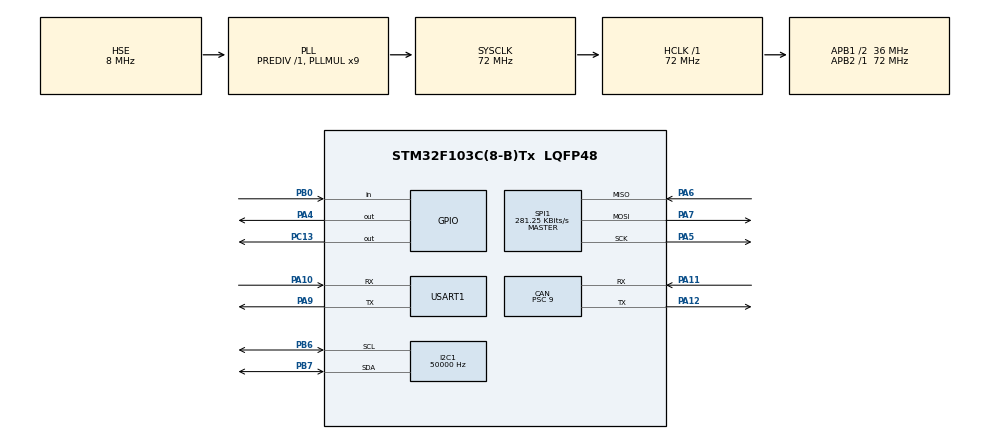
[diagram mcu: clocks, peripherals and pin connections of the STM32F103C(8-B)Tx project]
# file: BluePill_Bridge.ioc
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CAN.ABOM=ENABLE
CAN.BS1=CAN_BS1_13TQ
CAN.BS2=CAN_BS2_2TQ
CAN.CalculateBaudRate=250000
CAN.CalculateTimeBit=4000
CAN.CalculateTimeQuantum=250.0
CAN.Prescaler=9
I2C1.ClockSpeed=50000
Mcu.Family=STM32F1
Mcu.Name=STM32F103C(8-B)Tx
Mcu.Package=LQFP48
NVIC.PriorityGroup=NVIC_PRIORITYGROUP_4
PA10.Mode=Asynchronous
PA10.Signal=USART1_RX
PA11.Mode=CAN_Activate
PA11.Signal=CAN_RX
PA12.Mode=CAN_Activate
PA12.Signal=CAN_TX
PA13.Mode=Serial_Wire
PA13.Signal=SYS_JTMS-SWDIO
PA14.Mode=Serial_Wire
PA14.Signal=SYS_JTCK-SWCLK
PA4.Signal=GPIO_Output
PA5.Mode=Full_Duplex_Master
PA5.Signal=SPI1_SCK
PA6.Mode=Full_Duplex_Master
PA6.Signal=SPI1_MISO
PA7.Mode=Full_Duplex_Master
PA7.Signal=SPI1_MOSI
PA9.Mode=Asynchronous
PA9.Signal=USART1_TX
PB0.Signal=GPIO_Input
PB6.Mode=I2C
PB6.Signal=I2C1_SCL
PB7.Mode=I2C
PB7.Signal=I2C1_SDA
PC13-TAMPER-RTC.Signal=GPIO_Output
PD0-OSC_IN.Mode=HSE-External-Oscillator
PD0-OSC_IN.Signal=RCC_OSC_IN
PD1-OSC_OUT.Mode=HSE-External-Oscillator
PD1-OSC_OUT.Signal=RCC_OSC_OUT
ProjectManager.HeapSize=0x200
ProjectManager.StackSize=0x400
ProjectManager.TargetToolchain=STM32CubeIDE
RCC.AHBFreq_Value=72000000
RCC.APB1CLKDivider=RCC_HCLK_DIV2
RCC.APB1Freq_Value=36000000
RCC.APB1TimFreq_Value=72000000
RCC.APB2Freq_Value=72000000
RCC.APB2TimFreq_Value=72000000
RCC.HCLKFreq_Value=72000000
RCC.PLLMUL=RCC_PLL_MUL9
RCC.PLLSourceVirtual=RCC_PLLSOURCE_HSE
RCC.SYSCLKFreq_VALUE=72000000
RCC.SYSCLKSource=RCC_SYSCLKSOURCE_PLLCLK
RCC.USBFreq_Value=72000000
SPI1.BaudRatePrescaler=SPI_BAUDRATEPRESCALER_256
SPI1.CalculateBaudRate=281.25 KBits/s
SPI1.Direction=SPI_DIRECTION_2LINES
SPI1.Mode=SPI_MODE_MASTER
SPI1.VirtualType=VM_MASTER
USART1.VirtualMode=VM_ASYNC
board=custom

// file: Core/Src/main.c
/* USER CODE BEGIN Header */
/*
 * Multi-bus bridge for bl_host.py - part of the STM32F103RBT6 three-tier secure bootloader.
 * Author: Adham Ehab   Date: 18/08/2026
 *
 * One Blue Pill, one USB-serial link to the PC, three downstream buses to the FBL.
 * The FBL listens on all of them at once; the Blue Pill is the bus MASTER, so it has
 * to push each command onto exactly one bus. The PC picks which with a one-time mode
 * byte (bl_host's  can:/spi:/i2c:  prefix), then everything speaks the framed protocol:
 *
 *   PC --UART--> Blue Pill --+--CAN (ISO-TP, PA11/PA12)------> FBL
 *                            +--SPI (PA4-7 + PB0 READY)------> FBL
 *                            +--I2C (PB6/PB7 + PB0 READY)----> FBL
 *
 * SET_BRIDGE (0xE0) is handled locally by the Blue Pill (not forwarded); every other
 * command is relayed on the selected bus and the reply handed back to the PC. SPI and
 * I2C share the FBL's DATA_READY line (PB0) so a slow command can take its time.
 *
 * Wiring (3.3 V, common ground):
 *   SPI - PA5 SCK -> PB13, PA6 MISO <- PB14, PA7 MOSI -> PB15, PA4 NSS -> PB12
 *   I2C - PB6 SCL <-> PB6, PB7 SDA <-> PB7  (4.7k-3.3k pull-ups on both lines)
 *   CAN - PA11/PA12 via an MCP2551, as the original CAN bridge
 *   PB0 READY <- Nucleo PB1 (shared by SPI and I2C)
 */
/* USER CODE END Header */
#include "main.h"
#include "can.h"
#include "i2c.h"
#include "spi.h"
#include "usart.h"
#include "gpio.h"

/* USER CODE BEGIN Includes */
#include <string.h>
#include <stdio.h>
/* USER CODE END Includes */

/* USER CODE BEGIN PD */
#define CAN_CMD_ID    0x7E0U   /* bridge -> FBL over CAN */
#define CAN_REPLY_ID  0x7E8U   /* FBL -> bridge over CAN */

#define CMD_SET_BRIDGE 0xE0U   /* local command: choose the downstream bus */
#define BUS_CAN 0U
#define BUS_SPI 1U
#define BUS_I2C 2U
#define BUS_CAN_RAW 3U         /* raw ISO-TP passthrough for a PC UDS client */

/* Set to 1 in a throwaway build to turn the Blue Pill into a UDS client that
   drives the Nucleo's live iso14229 server over CAN (two-board test), instead
   of the normal transparent bridge. 0 = normal bridge. */
#ifndef BP_UDS_CLIENT_ON_BOOT
#define BP_UDS_CLIENT_ON_BOOT 0
#endif

#define I2C_ADDR7  0x42U       /* the FBL's I2C slave address (7-bit) */

/* SPI handshake lines to the FBL slave */
#define NSS_LOW()        HAL_GPIO_WritePin(GPIOA, GPIO_PIN_4, GPIO_PIN_RESET)
#define NSS_HIGH()       HAL_GPIO_WritePin(GPIOA, GPIO_PIN_4, GPIO_PIN_SET)
#define READY_IS_HIGH()  (HAL_GPIO_ReadPin(GPIOB, GPIO_PIN_0) == GPIO_PIN_SET)

#define LED_TOGGLE()     HAL_GPIO_TogglePin(GPIOC, GPIO_PIN_13)
/* USER CODE END PD */

/* USER CODE BEGIN PV */
static uint8_t bridge_bus = BUS_CAN;   /* default so a plain COM port still bridges CAN */
/* USER CODE END PV */

void SystemClock_Config(void);

/* USER CODE BEGIN 0 */
/* ==========================================================================
 *  CAN downstream: ISO-TP (ISO 15765-2) with flow control, sender side.
 * ========================================================================== */
static int bp_send_frame(uint32_t can_id, const uint8_t *bytes, uint8_t length)
{
  CAN_TxHeaderTypeDef header = {0};
  uint32_t mailbox;
  uint32_t timeout = 100000U;

  header.StdId = can_id;  header.IDE = CAN_ID_STD;  header.RTR = CAN_RTR_DATA;  header.DLC = length;
  while (HAL_CAN_GetTxMailboxesFreeLevel(&hcan) == 0U) { if (timeout-- == 0U) return 0; }
  return (HAL_CAN_AddTxMessage(&hcan, &header, (uint8_t *)bytes, &mailbox) == HAL_OK);
}

static int bp_recv_frame(uint8_t *bytes, uint32_t *timeout)
{
  CAN_RxHeaderTypeDef header;
  while (HAL_CAN_GetRxFifoFillLevel(&hcan, CAN_RX_FIFO0) == 0U) { if ((*timeout)-- == 0U) return 0; }
  return (HAL_CAN_GetRxMessage(&hcan, CAN_RX_FIFO0, &header, bytes) == HAL_OK);
}

static int bp_wait_fc(uint32_t timeout, uint8_t *block_size, uint8_t *st_min)
{
  uint8_t frame[8];
  for (;;) {
    uint32_t remaining = timeout;
    if (!bp_recv_frame(frame, &remaining)) return 0;
    if ((frame[0] & 0xF0U) == 0x30U) {
      uint8_t flow_status = frame[0] & 0x0FU;
      if (flow_status == 0x00U) { *block_size = frame[1]; *st_min = frame[2]; return 1; }
      if (flow_status == 0x02U) return 0;
    }
  }
}

static int bp_cantp_send(uint32_t can_id, const uint8_t *data, uint32_t length)
{
  uint8_t  frame[8];
  uint32_t offset, chunk, i;
  uint8_t  seq_num = 1U, block_size = 0U, st_min = 0U, sent_in_block = 0U;

  if (length <= 7U) {
    frame[0] = (uint8_t)length;
    for (i = 0; i < length; i++) frame[1 + i] = data[i];
    return bp_send_frame(can_id, frame, (uint8_t)(1U + length));
  }

  frame[0] = (uint8_t)(0x10U | ((length >> 8) & 0x0FU));
  frame[1] = (uint8_t)(length & 0xFFU);
  for (i = 0; i < 6U; i++) frame[2 + i] = data[i];
  if (!bp_send_frame(can_id, frame, 8U)) return 0;
  if (!bp_wait_fc(2000000U, &block_size, &st_min)) return 0;

  offset = 6U;
  while (offset < length) {
    frame[0] = (uint8_t)(0x20U | (seq_num & 0x0FU));
    chunk = (length - offset > 7U) ? 7U : (length - offset);
    for (i = 0; i < chunk; i++) frame[1 + i] = data[offset + i];
    if (!bp_send_frame(can_id, frame, (uint8_t)(1U + chunk))) return 0;
    offset += chunk; seq_num++;
    if (st_min != 0U && st_min <= 0x7FU) HAL_Delay(st_min);
    if (block_size != 0U) {
      if (++sent_in_block >= block_size) {
        sent_in_block = 0U;
        if (offset < length && !bp_wait_fc(2000000U, &block_size, &st_min)) return 0;
      }
    }
  }
  return 1;
}

static int bp_cantp_recv_sf(uint8_t *data, uint32_t *length, uint32_t timeout_ms)
{
  CAN_RxHeaderTypeDef header;
  uint8_t  frame[8];
  uint32_t start = HAL_GetTick();

  while (HAL_CAN_GetRxFifoFillLevel(&hcan, CAN_RX_FIFO0) == 0U) {
    if (HAL_GetTick() - start > timeout_ms) return 0;
  }
  if (HAL_CAN_GetRxMessage(&hcan, CAN_RX_FIFO0, &header, frame) != HAL_OK) return 0;
  if ((frame[0] & 0xF0U) == 0x00U) {
    uint32_t i, payload_len = frame[0] & 0x0FU;
    for (i = 0; i < payload_len; i++) data[i] = frame[1 + i];
    *length = payload_len;
    return 1;
  }
  return 0;
}

/* Receive one ISO-TP message (single- or multi-frame), acting as the receiver:
   for a multi-frame message we send lockstep Flow Control (BS=1) on `fc_id`.
   Returns 1 on a complete message. */
static int bp_cantp_recv(uint8_t *data, uint32_t *length, uint32_t fc_id)
{
  uint8_t  frame[8];
  uint32_t total, offset, chunk, i, spin;

  spin = 2000000U;
  if (!bp_recv_frame(frame, &spin)) return 0;

  if ((frame[0] & 0xF0U) == 0x00U) {           /* Single Frame */
    uint32_t plen = frame[0] & 0x0FU;
    for (i = 0; i < plen; i++) data[i] = frame[1 + i];
    *length = plen;
    return 1;
  }
  if ((frame[0] & 0xF0U) == 0x10U) {           /* First Frame */
    total = ((uint32_t)(frame[0] & 0x0FU) << 8) | frame[1];
    for (i = 0; i < 6U; i++) data[i] = frame[2 + i];
    offset = 6U;
    while (offset < total) {
      uint8_t fc[3] = { 0x30U, 0x01U, 0x00U };  /* Clear To Send, BS=1, STmin=0 */
      bp_send_frame(fc_id, fc, 3U);
      spin = 2000000U;
      if (!bp_recv_frame(frame, &spin)) return 0;
      if ((frame[0] & 0xF0U) != 0x20U) return 0;
      chunk = (total - offset > 7U) ? 7U : (total - offset);
      for (i = 0; i < chunk; i++) data[offset + i] = frame[1 + i];
      offset += chunk;
    }
    *length = total;
    return 1;
  }
  return 0;
}

/* Relay one command over CAN, read the single-frame reply. */
static int forward_can(const uint8_t *cmd, uint32_t total, uint8_t *reply, uint32_t *rlen)
{
  CAN_RxHeaderTypeDef rx; uint8_t junk[8];
  while (HAL_CAN_GetRxFifoFillLevel(&hcan, CAN_RX_FIFO0) > 0U)   /* drain stale RX */
    HAL_CAN_GetRxMessage(&hcan, CAN_RX_FIFO0, &rx, junk);
  if (!bp_cantp_send(CAN_CMD_ID, cmd, total)) return 0;
  return bp_cantp_recv_sf(reply, rlen, 12000U);
}

/* ==========================================================================
 *  SPI downstream: master, with the FBL's DATA_READY line pacing the reply.
 * ========================================================================== */
static uint8_t spi_xfer(uint8_t out)
{
  uint8_t in = 0U;
  HAL_SPI_TransmitReceive(&hspi1, &out, &in, 1U, HAL_MAX_DELAY);
  return in;
}

static int forward_spi(const uint8_t *cmd, uint32_t total, uint8_t *reply, uint32_t *rlen)
{
  uint32_t i, guard;

  /* Phase 1: clock out the command. Pause after the first byte so the slave -
     which is polling several transports - notices and enters its read loop. */
  NSS_LOW();
  (void)spi_xfer(cmd[0]);
  HAL_Delay(12);
  for (i = 1U; i < total; i++) (void)spi_xfer(cmd[i]);
  NSS_HIGH();

  /* Phase 2: wait for DATA_READY, then clock the reply back. */
  guard = 0U;
  while (!READY_IS_HIGH()) { HAL_Delay(1); if (++guard > 15000U) return 0; }   /* up to 15 s */

  NSS_LOW();
  reply[0] = spi_xfer(0x00);          /* ACK (0xCD) or NACK (0xAB) */
  *rlen = 1U;
  if (reply[0] == 0xCDU) {
    uint8_t n = spi_xfer(0x00);       /* payload length */
    reply[1] = n; *rlen = 2U;
    for (i = 0U; i < n; i++) { reply[2U + i] = spi_xfer(0x00); (*rlen)++; }
  }
  NSS_HIGH();

  guard = 0U;
  while (READY_IS_HIGH()) { if (++guard > 2000000U) break; }
  return 1;
}

/* ==========================================================================
 *  I2C downstream: HAL master. Write the command, wait for DATA_READY, then read
 *  a fixed 8-byte reply. Clock-stretching on the slave keeps the timing easy.
 * ========================================================================== */
static int forward_i2c(const uint8_t *cmd, uint32_t total, uint8_t *reply, uint32_t *rlen)
{
  uint32_t i, guard;
  uint8_t  buf[8];

  if (HAL_I2C_Master_Transmit(&hi2c1, (uint16_t)(I2C_ADDR7 << 1),
                              (uint8_t *)cmd, (uint16_t)total, 1000U) != HAL_OK)
    return 0;

  guard = 0U;
  while (!READY_IS_HIGH()) { HAL_Delay(1); if (++guard > 15000U) return 0; }   /* up to 15 s */

  if (HAL_I2C_Master_Receive(&hi2c1, (uint16_t)(I2C_ADDR7 << 1), buf, 8U, 1000U) != HAL_OK)
    return 0;

  reply[0] = buf[0];                 /* ACK (0xCD) or NACK (0xAB) */
  if (buf[0] == 0xCDU) {
    uint8_t n = buf[1];
    reply[1] = n; *rlen = 2U;
    for (i = 0U; i < n && (2U + i) < 8U; i++) { reply[2U + i] = buf[2U + i]; (*rlen)++; }
  } else {
    *rlen = 1U;
  }

  guard = 0U;
  while (READY_IS_HIGH()) { if (++guard > 2000000U) break; }
  return 1;
}

#if BP_UDS_CLIENT_ON_BOOT
#include "bl_seccrypto.h"   /* from the FBL project: add Core/Src/bl_seccrypto.c (CMake: -DBP_UDS_CLIENT=ON does this) */
/* ==========================================================================
 *  UDS client (two-board test): drive the Nucleo's iso14229 server over CAN.
 *  Requests go out on 0x7E0 (multi-frame handled by bp_cantp_send); the server's
 *  replies come back on 0x7E8. Result on the LED (PC13, active low) and over
 *  USART1: solid ON = full sequence passed; else it blinks the failing stage
 *  2..9 (9 = read-back mismatch). The full transcript is printed to the PC.
 * ========================================================================== */
#define BP_LED_ON()   HAL_GPIO_WritePin(GPIOC, GPIO_PIN_13, GPIO_PIN_RESET)
#define BP_LED_OFF()  HAL_GPIO_WritePin(GPIOC, GPIO_PIN_13, GPIO_PIN_SET)

/* Print a line to the PC over USART1 (the same USB-serial the bridge uses). */
static void bp_log(const char *s)
{
  HAL_UART_Transmit(&huart1, (uint8_t *)s, (uint16_t)strlen(s), 500U);
}

/* Print "label" followed by n bytes as hex. */
static void bp_log_hex(const char *label, const uint8_t *d, uint32_t n)
{
  char line[96];
  int  p = snprintf(line, sizeof(line), "%s", label);
  for (uint32_t i = 0U; (i < n) && (p < (int)sizeof(line) - 4); i++)
    p += snprintf(line + p, sizeof(line) - (size_t)p, " %02X", d[i]);
  p += snprintf(line + p, sizeof(line) - (size_t)p, "\r\n");
  HAL_UART_Transmit(&huart1, (uint8_t *)line, (uint16_t)p, 500U);
}

/* Send a UDS request, log it and the reply. Returns reply length, 0 on failure. */
static uint32_t bp_uds_xfer(const char *step, const uint8_t *req, uint32_t req_len,
                            uint8_t *resp, uint32_t timeout_ms)
{
  uint32_t rlen = 0U;
  bp_log(step);
  bp_log_hex("   -> req", req, req_len);
  if (!bp_cantp_send(CAN_CMD_ID, req, req_len)) { bp_log("   !! send failed\r\n"); return 0U; }
  if (!bp_cantp_recv_sf(resp, &rlen, timeout_ms)) { bp_log("   !! no reply\r\n"); return 0U; }
  bp_log_hex("   <- rsp", resp, rlen);
  return rlen;
}

/* Show a result on the LED (0 = solid ON = pass) and over UART, then halt. */
static void bp_uds_report(int code)
{
  if (code == 0)
  {
    bp_log("\r\n==== RESULT: PASS (full UDS reprogramming over real CAN) ====\r\n");
    BP_LED_ON();
    while (1) { }
  }
  {
    char line[52];
    snprintf(line, sizeof(line), "\r\n==== RESULT: FAIL at stage %d ====\r\n", code);
    bp_log(line);
  }
  while (1)
  {
    for (int b = 0; b < code; b++) { BP_LED_ON(); HAL_Delay(250); BP_LED_OFF(); HAL_Delay(250); }
    HAL_Delay(1500);
  }
}

/* Run the full reprogramming sequence against the server. Never returns. */
static void bp_uds_client(void)
{
  const uint32_t SLOT_B = 0x08015000U;                 /* staging slot base (matches the FBL map) */
  uint8_t  req[16];
  uint8_t  resp[16];
  uint8_t  seed[4], key[4];
  uint32_t n;

  HAL_Delay(300);   /* let the server settle after power-up */

  /* This clone's USART1 + USB-serial can be marginal at 115200 (the framed
     protocol hides it behind a CRC, but plain-text logging shows every glitch).
     Drop to a rock-solid 9600 for the transcript - set the terminal to 9600. */
  huart1.Init.BaudRate = 9600U;
  HAL_UART_Init(&huart1);

  bp_log("\r\n=== UDS client: driving the Nucleo iso14229 server over CAN ===\r\n");
  bp_log("    requests on 0x7E0, single-frame replies on 0x7E8\r\n");

  /* 1) DiagnosticSessionControl: extended first, programming can not be entered directly. */
  req[0] = 0x10U; req[1] = 0x03U;
  n = bp_uds_xfer("\r\n[1a] DiagnosticSessionControl (extended)", req, 2U, resp, 2000U);
  if (n < 2U || resp[0] != 0x50U || resp[1] != 0x03U) bp_uds_report(2);
  req[0] = 0x10U; req[1] = 0x02U;
  n = bp_uds_xfer("\r\n[1b] DiagnosticSessionControl (programming)", req, 2U, resp, 2000U);
  if (n < 2U || resp[0] != 0x50U || resp[1] != 0x02U) bp_uds_report(2);

  /* Wait out the server's ~1 s SecurityAccess boot delay. */
  bp_log("    waiting out the ~1 s security boot delay...\r\n");
  HAL_Delay(1200);

  /* 2) SecurityAccess requestSeed. */
  req[0] = 0x27U; req[1] = 0x01U;
  n = bp_uds_xfer("\r\n[2] SecurityAccess requestSeed", req, 2U, resp, 2000U);
  if (n < 6U || resp[0] != 0x67U || resp[1] != 0x01U) bp_uds_report(3);
  seed[0] = resp[2]; seed[1] = resp[3]; seed[2] = resp[4]; seed[3] = resp[5];

  /* 3) SecurityAccess sendKey: first 4 bytes of AES-CMAC(K, seed). K is the same key the
     server was built with (the public demo key unless BL_SEC_KEY_HEADER was given). */
  BL_Sec_KeyForSeed(seed, key);
  bp_log_hex("    seed from server", seed, 4U);
  bp_log_hex("    computed key    ", key, 4U);
  req[0] = 0x27U; req[1] = 0x02U;
  req[2] = key[0]; req[3] = key[1]; req[4] = key[2]; req[5] = key[3];
  n = bp_uds_xfer("\r\n[3] SecurityAccess sendKey", req, 6U, resp, 2000U);
  if (n < 2U || resp[0] != 0x67U || resp[1] != 0x02U) bp_uds_report(4);
  bp_log("    -> security unlocked\r\n");

  /* 4) RoutineControl start -> erase the staging slot (routineId 0xFF00). */
  req[0] = 0x31U; req[1] = 0x01U; req[2] = 0xFFU; req[3] = 0x00U;
  n = bp_uds_xfer("\r\n[4] RoutineControl start: erase staging slot (0xFF00)", req, 4U, resp, 5000U);
  if (n < 2U || resp[0] != 0x71U || resp[1] != 0x01U) bp_uds_report(5);

  /* 5) RequestDownload: 8 bytes at SLOT_B. [0x34][dfi=0][ALFID=0x44][addr:4][size:4] */
  req[0] = 0x34U; req[1] = 0x00U; req[2] = 0x44U;
  req[3] = (uint8_t)(SLOT_B >> 24); req[4] = (uint8_t)(SLOT_B >> 16);
  req[5] = (uint8_t)(SLOT_B >> 8);  req[6] = (uint8_t)(SLOT_B);
  req[7] = 0x00U; req[8] = 0x00U; req[9] = 0x00U; req[10] = 0x08U;
  n = bp_uds_xfer("\r\n[5] RequestDownload: 8 bytes @ 0x08015000", req, 11U, resp, 2000U);
  if (n < 1U || resp[0] != 0x74U) bp_uds_report(6);

  /* 6) TransferData block #1: [0x36][BSC=1][8 payload bytes]. */
  req[0] = 0x36U; req[1] = 0x01U;
  req[2] = 0xDEU; req[3] = 0xADU; req[4] = 0xBEU; req[5] = 0xEFU;
  req[6] = 0x11U; req[7] = 0x22U; req[8] = 0x33U; req[9] = 0x44U;
  n = bp_uds_xfer("\r\n[6] TransferData block #1 (DE AD BE EF 11 22 33 44)", req, 10U, resp, 3000U);
  if (n < 2U || resp[0] != 0x76U || resp[1] != 0x01U) bp_uds_report(7);

  /* 7) RequestTransferExit. */
  req[0] = 0x37U;
  n = bp_uds_xfer("\r\n[7] RequestTransferExit", req, 1U, resp, 2000U);
  if (n < 1U || resp[0] != 0x77U) bp_uds_report(8);

  /* 8) ReadMemoryByAddress: read the 8 bytes back off flash and verify they
        match what we transferred. [0x23][ALFID=0x44][addr:4][size:4]. The reply
        [0x63][8 bytes] is multi-frame, so use the multi-frame receiver. */
  {
    static const uint8_t want[8] = { 0xDEU, 0xADU, 0xBEU, 0xEFU, 0x11U, 0x22U, 0x33U, 0x44U };
    uint8_t  rd[16];
    uint32_t rlen = 0U;

    req[0] = 0x23U; req[1] = 0x44U;
    req[2] = (uint8_t)(SLOT_B >> 24); req[3] = (uint8_t)(SLOT_B >> 16);
    req[4] = (uint8_t)(SLOT_B >> 8);  req[5] = (uint8_t)(SLOT_B);
    req[6] = 0x00U; req[7] = 0x00U; req[8] = 0x00U; req[9] = 0x08U;

    bp_log("\r\n[8] ReadMemoryByAddress: read 8 bytes back @ 0x08015000\r\n");
    bp_log_hex("   -> req", req, 10U);
    if (!bp_cantp_send(CAN_CMD_ID, req, 10U)) { bp_log("   !! send failed\r\n"); bp_uds_report(9); }
    if (!bp_cantp_recv(rd, &rlen, CAN_CMD_ID)) { bp_log("   !! no reply\r\n");    bp_uds_report(9); }
    bp_log_hex("   <- rsp", rd, rlen);

    if (rlen < 9U || rd[0] != 0x63U || memcmp(&rd[1], want, 8) != 0) bp_uds_report(9);
    bp_log("    -> read-back matches the transferred bytes\r\n");
  }

  bp_uds_report(0);   /* full UDS reprogramming + verified read-back over real CAN */
}
#endif /* BP_UDS_CLIENT_ON_BOOT */
/* USER CODE END 0 */

int main(void)
{

  /* MCU Configuration--------------------------------------------------------*/

  /* Reset of all peripherals, Initializes the Flash interface and the Systick. */
  HAL_Init();

  /* Configure the system clock */
  SystemClock_Config();

  /* Initialize all configured peripherals */
  MX_GPIO_Init();
  MX_CAN_Init();
  MX_I2C1_Init();
  MX_SPI1_Init();
  MX_USART1_UART_Init();
  /* USER CODE BEGIN 2 */
  /* CAN: accept every ID, then start */
  CAN_FilterTypeDef filter = {0};
  filter.FilterBank = 0; filter.FilterMode = CAN_FILTERMODE_IDMASK; filter.FilterScale = CAN_FILTERSCALE_32BIT;
  filter.FilterIdHigh = 0; filter.FilterIdLow = 0; filter.FilterMaskIdHigh = 0; filter.FilterMaskIdLow = 0;
  filter.FilterFIFOAssignment = CAN_RX_FIFO0; filter.FilterActivation = ENABLE;
  HAL_CAN_ConfigFilter(&hcan, &filter);
  HAL_CAN_Start(&hcan);

  NSS_HIGH();   /* SPI slave deselected until we drive a transaction */

  for (int i = 0; i < 6; i++) { LED_TOGGLE(); HAL_Delay(100); }   /* boot = alive */

#if BP_UDS_CLIENT_ON_BOOT
  bp_uds_client();   /* two-board UDS test: drive the Nucleo server, never returns */
#endif

  uint8_t frame[200];   /* a command frame from the PC (VERIFY is ~170 bytes) */
  uint8_t reply[64];    /* the FBL's reply: [ACK][len][payload]               */
  /* USER CODE END 2 */

  /* Infinite loop */
  while (1)
  {

    /* USER CODE BEGIN 3 */
    /* 1. Read one framed command from the PC: [LEN][CMD][DATA][CRC32] */
    if (HAL_UART_Receive(&huart1, &frame[0], 1U, HAL_MAX_DELAY) != HAL_OK) continue;
    uint8_t len = frame[0];
    if (len < 5U || (uint32_t)len + 1U > sizeof(frame)) continue;
    if (HAL_UART_Receive(&huart1, &frame[1], len, 300U) != HAL_OK) continue;
    uint32_t total = (uint32_t)len + 1U;

    LED_TOGGLE();

    /* 2a. SET_BRIDGE is ours: pick the downstream bus, ACK locally, don't forward. */
    if (frame[1] == CMD_SET_BRIDGE) {
      bridge_bus = frame[2];
      uint8_t ack[3] = { 0xCDU, 0x01U, bridge_bus };
      HAL_UART_Transmit(&huart1, ack, 3U, HAL_MAX_DELAY);
      /* Raw UDS passthrough runs the serial link at a rock-solid 9600 (this
         clone can be marginal at 115200); the normal bl_host buses keep the
         native 115200. The ACK above already went out at the native baud; a
         board reset restores 115200 after a raw session. */
      if (bridge_bus == BUS_CAN_RAW) {
        HAL_Delay(5);
        huart1.Init.BaudRate = 9600U;
        HAL_UART_Init(&huart1);
      }
      continue;
    }

    /* 2a'. Raw ISO-TP passthrough (for a PC UDS client): the PC frames each
       request as [LEN][UDS PDU]; we put the PDU straight on CAN and return the
       raw reply as [RLEN][reply bytes] (RLEN = 0 on failure). No CRC/CMD. */
    if (bridge_bus == BUS_CAN_RAW) {
      CAN_RxHeaderTypeDef rx; uint8_t junk[8];
      uint32_t rlen = 0U;
      uint8_t  hdr;
      while (HAL_CAN_GetRxFifoFillLevel(&hcan, CAN_RX_FIFO0) > 0U)   /* drain stale RX */
        HAL_CAN_GetRxMessage(&hcan, CAN_RX_FIFO0, &rx, junk);
      if (bp_cantp_send(CAN_CMD_ID, &frame[1], len) &&
          bp_cantp_recv(reply, &rlen, CAN_CMD_ID)) {
        hdr = (uint8_t)rlen;
        HAL_UART_Transmit(&huart1, &hdr, 1U, HAL_MAX_DELAY);
        HAL_UART_Transmit(&huart1, reply, (uint16_t)rlen, HAL_MAX_DELAY);
      } else {
        hdr = 0U;   /* failure */
        HAL_UART_Transmit(&huart1, &hdr, 1U, HAL_MAX_DELAY);
      }
      continue;
    }

    /* 2b. Everything else: relay on the selected bus, hand the reply back. */
    uint32_t rlen = 0U;
    int ok;
    if      (bridge_bus == BUS_SPI) ok = forward_spi(frame, total, reply, &rlen);
    else if (bridge_bus == BUS_I2C) ok = forward_i2c(frame, total, reply, &rlen);
    else                            ok = forward_can(frame, total, reply, &rlen);
    if (ok) HAL_UART_Transmit(&huart1, reply, rlen, HAL_MAX_DELAY);
  }
  /* USER CODE END 3 */
}

void SystemClock_Config(void)
{
  RCC_OscInitTypeDef RCC_OscInitStruct = {0};
  RCC_ClkInitTypeDef RCC_ClkInitStruct = {0};

  /** Initializes the RCC Oscillators according to the specified parameters
  * in the RCC_OscInitTypeDef structure.
  */
  RCC_OscInitStruct.OscillatorType = RCC_OSCILLATORTYPE_HSE;
  RCC_OscInitStruct.HSEState = RCC_HSE_ON;
  RCC_OscInitStruct.HSEPredivValue = RCC_HSE_PREDIV_DIV1;
  RCC_OscInitStruct.HSIState = RCC_HSI_ON;
  RCC_OscInitStruct.PLL.PLLState = RCC_PLL_ON;
  RCC_OscInitStruct.PLL.PLLSource = RCC_PLLSOURCE_HSE;
  RCC_OscInitStruct.PLL.PLLMUL = RCC_PLL_MUL9;
  if (HAL_RCC_OscConfig(&RCC_OscInitStruct) != HAL_OK)
  {
    Error_Handler();
  }

  /** Initializes the CPU, AHB and APB buses clocks
  */
  RCC_ClkInitStruct.ClockType = RCC_CLOCKTYPE_HCLK|RCC_CLOCKTYPE_SYSCLK
                              |RCC_CLOCKTYPE_PCLK1|RCC_CLOCKTYPE_PCLK2;
  RCC_ClkInitStruct.SYSCLKSource = RCC_SYSCLKSOURCE_PLLCLK;
  RCC_ClkInitStruct.AHBCLKDivider = RCC_SYSCLK_DIV1;
  RCC_ClkInitStruct.APB1CLKDivider = RCC_HCLK_DIV2;
  RCC_ClkInitStruct.APB2CLKDivider = RCC_HCLK_DIV1;

  if (HAL_RCC_ClockConfig(&RCC_ClkInitStruct, FLASH_LATENCY_2) != HAL_OK)
  {
    Error_Handler();
  }
}

void Error_Handler(void)
{
  __disable_irq();
  while (1) { }
}
